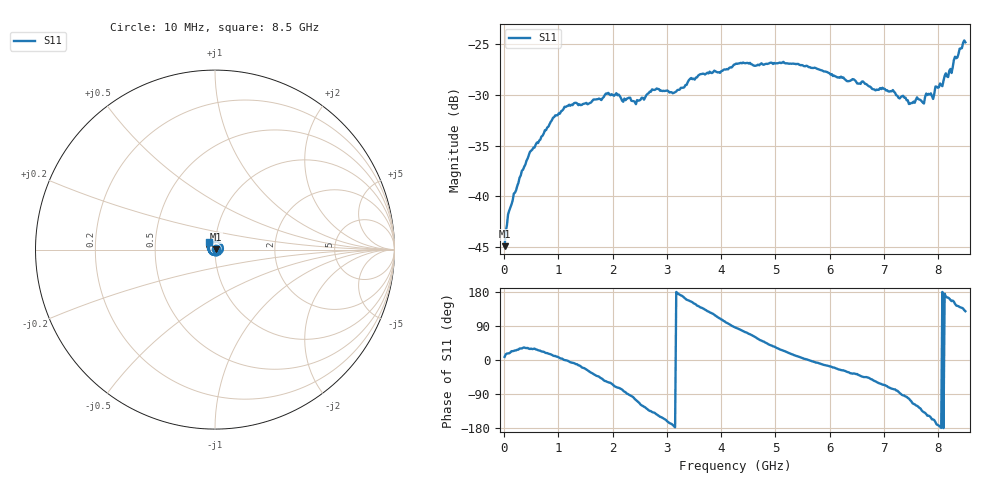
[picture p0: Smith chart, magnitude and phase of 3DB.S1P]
!Agilent Technologies,E5071C,MY46101917,A.08.10
!Date: Mon Jan 01 00:51:00 2001
!Data & Calibration Information:
!Freq	S11:SOLT2(ON)
# Hz S dB R 50
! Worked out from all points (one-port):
!   401 points, 10 MHz to 8.5 GHz, reference 50 ohm
!   lowest |S11| = -44.9 dB at 10 MHz (marker M1), VSWR 1.01, Z = 50.6 + j0.0818 ohm
!   |S11| at or under -10 dB: start of sweep to end of sweep
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1e7  -44.89 8.2
7.3675e7  -41.76 17.6
1.3735e8  -40.78 23.3
4.55725e8  -35.93 29.9
9.0145e8  -32.26 11.8
1.07125e9  -31.55 3.5
1.2835e9  -30.85 -7.8
1.58065e9  -30.81 -31.3
1.899025e9  -29.89 -57.8
2.1325e9  -30.11 -74.7
2.42965e9  -30.92 -105.6
2.76925e9  -29.52 -139.0
3.19375e9  -29.53 176.6
3.61825e9  -27.97 138.7
3.979075e9  -27.84 109.5
4.255e9  -27.00 86.0
5.31625e9  -26.93 14.8
6.3775e9  -28.62 -34.7
6.6322e9  -28.80 -45.1
6.823225e9  -29.48 -55.2
7.162825e9  -29.53 -76.4
7.43875e9  -30.54 -100.2
7.69345e9  -30.62 -132.7
7.8208e9  -29.91 -146.9
7.884475e9  -30.12 -156.7
8.224075e9  -27.46 158.5
8.436325e9  -25.40 137.7
8.5e9  -24.83 128.7
